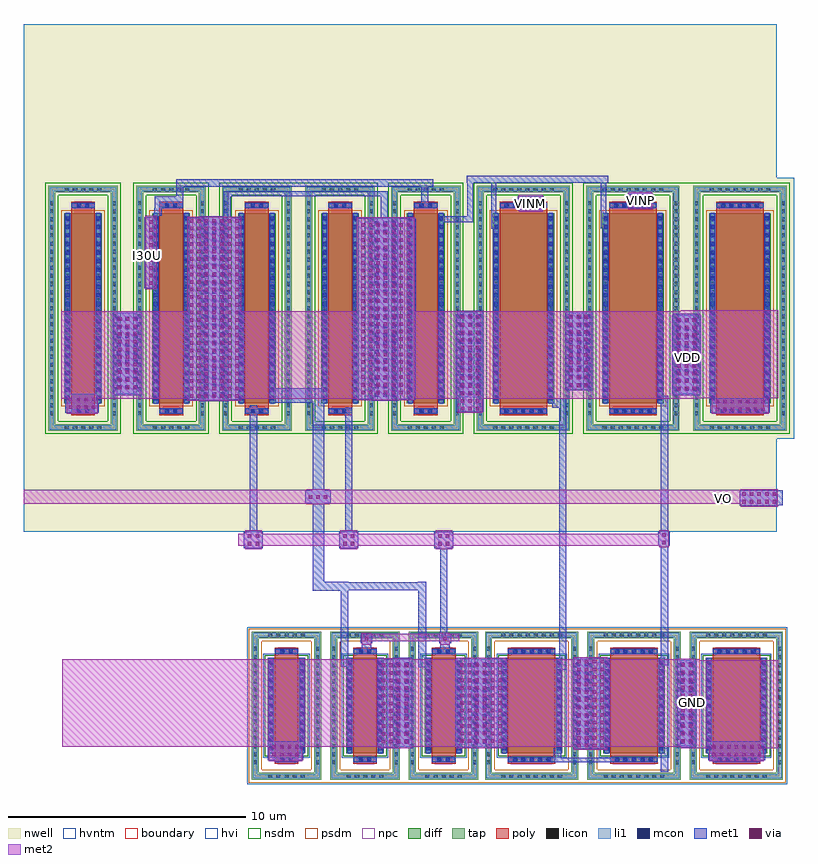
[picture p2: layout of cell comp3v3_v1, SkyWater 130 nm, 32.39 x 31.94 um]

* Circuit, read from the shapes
.subckt comp3v3_v1 GND I30U VDD VINM VINP VO
XM1 GND GND GND GND sky130_fd_pr__nfet_g5v0d10v5 w=4 l=1
XM2 GND n1 VO GND sky130_fd_pr__nfet_g5v0d10v5 w=4 l=1 m=2
XM3 n2 n2 GND GND sky130_fd_pr__nfet_g5v0d10v5 w=4 l=2
XM4 n1 n2 GND GND sky130_fd_pr__nfet_g5v0d10v5 w=4 l=2
XM5 GND GND GND GND sky130_fd_pr__nfet_g5v0d10v5 w=4 l=2
XM6 VDD VDD VDD VDD sky130_fd_pr__pfet_g5v0d10v5 w=8 l=1
XM7 VDD I30U I30U VDD sky130_fd_pr__pfet_g5v0d10v5 w=8 l=1
XM8 VO n1 VDD VDD sky130_fd_pr__pfet_g5v0d10v5 w=8 l=1 m=2
XM9 n3 I30U VDD VDD sky130_fd_pr__pfet_g5v0d10v5 w=8 l=1
XM10 n2 VINM n3 VDD sky130_fd_pr__pfet_g5v0d10v5 w=8 l=2
XM11 n1 VINP n3 VDD sky130_fd_pr__pfet_g5v0d10v5 w=8 l=2
XM12 VDD VDD VDD VDD sky130_fd_pr__pfet_g5v0d10v5 w=8 l=2
.ends

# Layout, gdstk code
import gdstk
lib = gdstk.Library(unit=1e-6, precision=1e-09)
def R(c, l, rs):  # rectangles x0, y0, x1, y1
    for r in rs: c.add(gdstk.rectangle(r[:2], r[2:], *l))
def A(c, l, x, y, w, h, nx, ny, dx, dy):  # array of equal rectangles
    R(c, l, [(x+i*dx, y+j*dy, x+i*dx+w, y+j*dy+h) for i in range(nx) for j in range(ny)])
nwell = (64, 20)
diff = (65, 20)
tap = (65, 44)
poly = (66, 20)
licon = (66, 44)
li1 = (67, 20)
mcon = (67, 44)
met1 = (68, 20)
via = (68, 44)
met2 = (69, 20)
hvi = (75, 20)
nsdm = (93, 44)
psdm = (94, 20)
npc = (95, 20)
hvntm = (125, 20)
boundary = (235, 4)

sky130_fd_pr__nfet_g5v0d = lib.new_cell('sky130_fd_pr__nfet_g5v0d10v5_WVAQGW')
R(sky130_fd_pr__nfet_g5v0d, diff, [(-0.79,-2,0.79,2)])
R(sky130_fd_pr__nfet_g5v0d, tap, [(-1.46,-3.11,1.46,-2.82), (-1.46,-2.82,-1.17,2.82), (1.17,-2.82,1.46,2.82), (-1.46,2.82,1.46,3.11)])
R(sky130_fd_pr__nfet_g5v0d, poly, [(-0.5,-2.44,0.5,2.44)])
A(sky130_fd_pr__nfet_g5v0d, licon, -0.765, -3.05, 0.17, 0.17, 5, 2, 0.34, 5.93)
A(sky130_fd_pr__nfet_g5v0d, licon, -1.4, -2.465, 0.17, 0.17, 1, 15, 0, 0.34)
A(sky130_fd_pr__nfet_g5v0d, licon, 1.23, -2.465, 0.17, 0.17, 1, 15, 0, 0.34)
A(sky130_fd_pr__nfet_g5v0d, licon, -0.73, -1.785, 0.17, 0.17, 1, 11, 0, 0.34)
A(sky130_fd_pr__nfet_g5v0d, licon, 0.56, -1.785, 0.17, 0.17, 1, 11, 0, 0.34)
R(sky130_fd_pr__nfet_g5v0d, licon, [(-0.255,-2.36,-0.085,-2.19), (0.085,-2.36,0.255,-2.19), (-0.255,2.19,-0.085,2.36), (0.085,2.19,0.255,2.36)])
R(sky130_fd_pr__nfet_g5v0d, li1, [(-1.4,-3.05,1.4,-2.88), (-1.4,-2.88,-1.23,2.88), (1.23,-2.88,1.4,2.88), (-0.5,-2.36,0.5,-2.19), (-0.73,-2.02,-0.56,2.02), (0.56,-2.02,0.73,2.02), (-0.5,2.19,0.5,2.36), (-1.4,2.88,1.4,3.05)])
A(sky130_fd_pr__nfet_g5v0d, mcon, -0.73, -1.885, 0.17, 0.17, 1, 11, 0, 0.36)
A(sky130_fd_pr__nfet_g5v0d, mcon, 0.56, -1.885, 0.17, 0.17, 1, 11, 0, 0.36)
R(sky130_fd_pr__nfet_g5v0d, mcon, [(-0.265,-2.36,-0.095,-2.19), (0.095,-2.36,0.265,-2.19), (-0.265,2.19,-0.095,2.36), (0.095,2.19,0.265,2.36)])
R(sky130_fd_pr__nfet_g5v0d, met1, [(-0.48,-2.39,0.48,-2.16), (-0.76,-2,-0.53,2), (0.53,-2,0.76,2), (-0.48,2.16,0.48,2.39)])
R(sky130_fd_pr__nfet_g5v0d, hvi, [(-1.645,-3.295,1.645,3.295)])
R(sky130_fd_pr__nfet_g5v0d, nsdm, [(-0.915,-2.125,0.915,2.125)])
R(sky130_fd_pr__nfet_g5v0d, psdm, [(-1.585,-3.235,1.585,-2.695), (-1.585,-2.695,-1.045,2.695), (1.045,-2.695,1.585,2.695), (-1.585,2.695,1.585,3.235)])
R(sky130_fd_pr__nfet_g5v0d, npc, [(-0.355,-2.46,0.355,-2.09), (-0.355,2.09,0.355,2.46)])
R(sky130_fd_pr__nfet_g5v0d, hvntm, [(-0.975,-2.185,0.975,2.185)])
R(sky130_fd_pr__nfet_g5v0d, boundary, [(-1.31,-2.96,1.31,2.96)])

c_sky130_fd_pr__nfet_g5v0d = lib.new_cell('sky130_fd_pr__nfet_g5v0d10v5_WVW7CW')
R(c_sky130_fd_pr__nfet_g5v0d, diff, [(-1.29,-2,1.29,2)])
R(c_sky130_fd_pr__nfet_g5v0d, tap, [(-1.96,-3.11,1.96,-2.82), (-1.96,-2.82,-1.67,2.82), (1.67,-2.82,1.96,2.82), (-1.96,2.82,1.96,3.11)])
R(c_sky130_fd_pr__nfet_g5v0d, poly, [(-1,-2.44,1,2.44)])
A(c_sky130_fd_pr__nfet_g5v0d, licon, -1.275, -3.05, 0.17, 0.17, 8, 2, 0.34, 5.93)
A(c_sky130_fd_pr__nfet_g5v0d, licon, -1.9, -2.465, 0.17, 0.17, 1, 15, 0, 0.34)
A(c_sky130_fd_pr__nfet_g5v0d, licon, 1.73, -2.465, 0.17, 0.17, 1, 15, 0, 0.34)
A(c_sky130_fd_pr__nfet_g5v0d, licon, -0.765, -2.36, 0.17, 0.17, 5, 2, 0.34, 4.55)
A(c_sky130_fd_pr__nfet_g5v0d, licon, -1.23, -1.785, 0.17, 0.17, 1, 11, 0, 0.34)
A(c_sky130_fd_pr__nfet_g5v0d, licon, 1.06, -1.785, 0.17, 0.17, 1, 11, 0, 0.34)
R(c_sky130_fd_pr__nfet_g5v0d, li1, [(-1.9,-3.05,1.9,-2.88), (-1.9,-2.88,-1.73,2.88), (1.73,-2.88,1.9,2.88), (-1,-2.36,1,-2.19), (-1.23,-2.02,-1.06,2.02), (1.06,-2.02,1.23,2.02), (-1,2.19,1,2.36), (-1.9,2.88,1.9,3.05)])
A(c_sky130_fd_pr__nfet_g5v0d, mcon, -0.805, -2.36, 0.17, 0.17, 5, 2, 0.36, 4.55)
A(c_sky130_fd_pr__nfet_g5v0d, mcon, -1.23, -1.885, 0.17, 0.17, 1, 11, 0, 0.36)
A(c_sky130_fd_pr__nfet_g5v0d, mcon, 1.06, -1.885, 0.17, 0.17, 1, 11, 0, 0.36)
R(c_sky130_fd_pr__nfet_g5v0d, met1, [(-0.98,-2.39,0.98,-2.16), (-1.26,-2,-1.03,2), (1.03,-2,1.26,2), (-0.98,2.16,0.98,2.39)])
R(c_sky130_fd_pr__nfet_g5v0d, hvi, [(-2.145,-3.295,2.145,3.295)])
R(c_sky130_fd_pr__nfet_g5v0d, nsdm, [(-1.415,-2.125,1.415,2.125)])
R(c_sky130_fd_pr__nfet_g5v0d, psdm, [(-2.085,-3.235,2.085,-2.695), (-2.085,-2.695,-1.545,2.695), (1.545,-2.695,2.085,2.695), (-2.085,2.695,2.085,3.235)])
R(c_sky130_fd_pr__nfet_g5v0d, npc, [(-0.865,-2.46,0.865,-2.09), (-0.865,2.09,0.865,2.46)])
R(c_sky130_fd_pr__nfet_g5v0d, hvntm, [(-1.475,-2.185,1.475,2.185)])
R(c_sky130_fd_pr__nfet_g5v0d, boundary, [(-1.81,-2.96,1.81,2.96)])

sky130_fd_pr__pfet_g5v0d = lib.new_cell('sky130_fd_pr__pfet_g5v0d10v5_FG5HVM')
R(sky130_fd_pr__pfet_g5v0d, nwell, [(-1.79,-5.485,1.79,5.485)])
R(sky130_fd_pr__pfet_g5v0d, diff, [(-0.79,-4,0.79,4)])
R(sky130_fd_pr__pfet_g5v0d, tap, [(-1.46,-5.155,1.46,-4.865), (-1.46,-4.865,-1.17,4.865), (1.17,-4.865,1.46,4.865), (-1.46,4.865,1.46,5.155)])
R(sky130_fd_pr__pfet_g5v0d, poly, [(-0.5,-4.485,0.5,4.485)])
A(sky130_fd_pr__pfet_g5v0d, licon, -0.765, -5.095, 0.17, 0.17, 5, 2, 0.34, 10.02)
A(sky130_fd_pr__pfet_g5v0d, licon, -1.4, -4.505, 0.17, 0.17, 1, 27, 0, 0.34)
A(sky130_fd_pr__pfet_g5v0d, licon, 1.23, -4.505, 0.17, 0.17, 1, 27, 0, 0.34)
A(sky130_fd_pr__pfet_g5v0d, licon, -0.73, -3.825, 0.17, 0.17, 1, 23, 0, 0.34)
A(sky130_fd_pr__pfet_g5v0d, licon, 0.56, -3.825, 0.17, 0.17, 1, 23, 0, 0.34)
R(sky130_fd_pr__pfet_g5v0d, licon, [(-0.255,-4.405,-0.085,-4.235), (0.085,-4.405,0.255,-4.235), (-0.255,4.235,-0.085,4.405), (0.085,4.235,0.255,4.405)])
R(sky130_fd_pr__pfet_g5v0d, li1, [(-1.4,-5.095,1.4,-4.925), (-1.4,-4.925,-1.23,4.925), (1.23,-4.925,1.4,4.925), (-0.5,-4.405,0.5,-4.235), (-0.73,-4.02,-0.56,4.02), (0.56,-4.02,0.73,4.02), (-0.5,4.235,0.5,4.405), (-1.4,4.925,1.4,5.095)])
A(sky130_fd_pr__pfet_g5v0d, mcon, -0.73, -3.865, 0.17, 0.17, 1, 22, 0, 0.36)
A(sky130_fd_pr__pfet_g5v0d, mcon, 0.56, -3.865, 0.17, 0.17, 1, 22, 0, 0.36)
R(sky130_fd_pr__pfet_g5v0d, mcon, [(-0.265,-4.405,-0.095,-4.235), (0.095,-4.405,0.265,-4.235), (-0.265,4.235,-0.095,4.405), (0.095,4.235,0.265,4.405)])
R(sky130_fd_pr__pfet_g5v0d, met1, [(-0.48,-4.435,0.48,-4.205), (-0.76,-4,-0.53,4), (0.53,-4,0.76,4), (-0.48,4.205,0.48,4.435)])
R(sky130_fd_pr__pfet_g5v0d, hvi, [(-1.79,-5.485,1.79,5.485)])
R(sky130_fd_pr__pfet_g5v0d, nsdm, [(-1.585,-5.28,1.585,-4.74), (-1.585,-4.74,-1.045,4.74), (1.045,-4.74,1.585,4.74), (-1.585,4.74,1.585,5.28)])
R(sky130_fd_pr__pfet_g5v0d, psdm, [(-0.915,-4.125,0.915,4.125)])
R(sky130_fd_pr__pfet_g5v0d, npc, [(-0.355,-4.505,0.355,-4.135), (-0.355,4.135,0.355,4.505)])
R(sky130_fd_pr__pfet_g5v0d, boundary, [(-1.315,-5.01,1.315,5.01)])

c_sky130_fd_pr__pfet_g5v0d = lib.new_cell('sky130_fd_pr__pfet_g5v0d10v5_473EVV')
R(c_sky130_fd_pr__pfet_g5v0d, nwell, [(-2.29,-5.485,2.29,5.485)])
R(c_sky130_fd_pr__pfet_g5v0d, diff, [(-1.29,-4,1.29,4)])
R(c_sky130_fd_pr__pfet_g5v0d, tap, [(-1.96,-5.155,1.96,-4.865), (-1.96,-4.865,-1.67,4.865), (1.67,-4.865,1.96,4.865), (-1.96,4.865,1.96,5.155)])
R(c_sky130_fd_pr__pfet_g5v0d, poly, [(-1,-4.485,1,4.485)])
A(c_sky130_fd_pr__pfet_g5v0d, licon, -1.275, -5.095, 0.17, 0.17, 8, 2, 0.34, 10.02)
A(c_sky130_fd_pr__pfet_g5v0d, licon, -1.9, -4.505, 0.17, 0.17, 1, 27, 0, 0.34)
A(c_sky130_fd_pr__pfet_g5v0d, licon, 1.73, -4.505, 0.17, 0.17, 1, 27, 0, 0.34)
A(c_sky130_fd_pr__pfet_g5v0d, licon, -0.765, -4.405, 0.17, 0.17, 5, 2, 0.34, 8.64)
A(c_sky130_fd_pr__pfet_g5v0d, licon, -1.23, -3.825, 0.17, 0.17, 1, 23, 0, 0.34)
A(c_sky130_fd_pr__pfet_g5v0d, licon, 1.06, -3.825, 0.17, 0.17, 1, 23, 0, 0.34)
R(c_sky130_fd_pr__pfet_g5v0d, li1, [(-1.9,-5.095,1.9,-4.925), (-1.9,-4.925,-1.73,4.925), (1.73,-4.925,1.9,4.925), (-1,-4.405,1,-4.235), (-1.23,-4.02,-1.06,4.02), (1.06,-4.02,1.23,4.02), (-1,4.235,1,4.405), (-1.9,4.925,1.9,5.095)])
A(c_sky130_fd_pr__pfet_g5v0d, mcon, -0.805, -4.405, 0.17, 0.17, 5, 2, 0.36, 8.64)
A(c_sky130_fd_pr__pfet_g5v0d, mcon, -1.23, -3.865, 0.17, 0.17, 1, 22, 0, 0.36)
A(c_sky130_fd_pr__pfet_g5v0d, mcon, 1.06, -3.865, 0.17, 0.17, 1, 22, 0, 0.36)
R(c_sky130_fd_pr__pfet_g5v0d, met1, [(-0.98,-4.435,0.98,-4.205), (-1.26,-4,-1.03,4), (1.03,-4,1.26,4), (-0.98,4.205,0.98,4.435)])
R(c_sky130_fd_pr__pfet_g5v0d, hvi, [(-2.29,-5.485,2.29,5.485)])
R(c_sky130_fd_pr__pfet_g5v0d, nsdm, [(-2.085,-5.28,2.085,-4.74), (-2.085,-4.74,-1.545,4.74), (1.545,-4.74,2.085,4.74), (-2.085,4.74,2.085,5.28)])
R(c_sky130_fd_pr__pfet_g5v0d, psdm, [(-1.415,-4.125,1.415,4.125)])
R(c_sky130_fd_pr__pfet_g5v0d, npc, [(-0.865,-4.505,0.865,-4.135), (-0.865,4.135,0.865,4.505)])
R(c_sky130_fd_pr__pfet_g5v0d, boundary, [(-1.815,-5.01,1.815,5.01)])

comp3v3_v1 = lib.new_cell('comp3v3_v1')
R(comp3v3_v1, nwell, [(0.09,-16.2,31.74,5.13)])
R(comp3v3_v1, li1, [(15.63,-25.24,16.39,-21.56), (18.91,-25.24,19.66,-21.56), (23.19,-25.24,23.96,-21.54), (27.6,-25.2,28.3,-21.6), (7.53,-10.67,8.68,-3), (14.74,-10.65,15.83,-3.04), (18.34,-10.55,19.37,-6.98), (3.9,-10.4,5,-7), (27.4,-10.4,28.5,-7.1), (22.93,-10.21,23.96,-7)])
A(comp3v3_v1, mcon, 15.745, -25.105, 0.17, 0.17, 1, 10, 0, 0.36)
A(comp3v3_v1, mcon, 16.105, -25.105, 0.17, 0.17, 1, 10, 0, 0.36)
A(comp3v3_v1, mcon, 19.02, -25.105, 0.17, 0.17, 1, 10, 0, 0.36)
A(comp3v3_v1, mcon, 19.38, -25.105, 0.17, 0.17, 1, 10, 0, 0.36)
A(comp3v3_v1, mcon, 27.685, -25.105, 0.17, 0.17, 1, 10, 0, 0.36)
A(comp3v3_v1, mcon, 28.045, -25.105, 0.17, 0.17, 1, 10, 0, 0.36)
A(comp3v3_v1, mcon, 23.31, -25.095, 0.17, 0.17, 1, 10, 0, 0.36)
A(comp3v3_v1, mcon, 23.67, -25.095, 0.17, 0.17, 1, 10, 0, 0.36)
A(comp3v3_v1, mcon, 14.84, -10.53, 0.17, 0.17, 3, 21, 0.36, 0.36)
A(comp3v3_v1, mcon, 7.66, -10.52, 0.17, 0.17, 3, 21, 0.36, 0.36)
A(comp3v3_v1, mcon, 18.41, -10.47, 0.17, 0.17, 3, 10, 0.36, 0.36)
A(comp3v3_v1, mcon, 27.505, -10.275, 0.17, 0.17, 3, 9, 0.36, 0.36)
A(comp3v3_v1, mcon, 4.005, -10.225, 0.17, 0.17, 3, 9, 0.36, 0.36)
A(comp3v3_v1, mcon, 23, -10.13, 0.17, 0.17, 3, 9, 0.36, 0.36)
A(comp3v3_v1, met1, 9.35, -16.9, 0.8, 0.7, 3, 1, 4, 0)
R(comp3v3_v1, met1, [(26.87,-26.29,27.18,-25.28), (20.53,-25.9,26.65,-25.7), (10.35,-25.8,11.85,-25), (28.85,-25.8,31.25,-25), (22.36,-25.7,22.68,-25.31), (23.16,-25.32,24.66,-21.53), (15.6,-25.3,16.42,-25.26), (18.88,-25.3,19.69,-25.26), (14.96,-25.26,16.42,-21.57), (18.23,-25.26,20.38,-21.55), (27.57,-25.26,28.33,-25.2), (27.55,-25.2,28.35,-21.6), (22.6,-22,22.9,-11), (16.68,-21.89,17,-18.67), (13.41,-21.88,13.73,-18.68), (26.87,-21.82,27.17,-16.8), (27.57,-21.6,28.33,-21.54), (15.6,-21.57,16.42,-21.5), (18.88,-21.55,19.69,-21.5), (23.16,-21.53,23.99,-21.48), (14.3,-21.3,14.7,-20.9), (17.6,-21.3,18,-20.9), (14.25,-20.9,14.75,-20.5), (17.55,-20.9,18.05,-20.5), (17.6,-20.5,17.9,-16.9), (12.25,-18.68,13.74,-18.67), (12.25,-18.67,17,-18.32), (12.25,-18.32,13.74,-18.31), (16.68,-18.32,17,-18.31), (12.25,-18.31,12.72,-15.01), (13.41,-18.31,13.73,-18.3), (26.75,-16.8,27.25,-16.2), (9.6,-16.2,9.9,-10.9), (13.6,-16.2,13.9,-11), (26.87,-16.2,27.17,-10.5), (30.18,-15.11,31.82,-15.1), (30.18,-15.1,32,-14.46), (11.93,-15.01,12.99,-14.47), (12.25,-14.47,12.72,-10.78), (1.85,-11.2,3.25,-10.4), (28.95,-11.2,31.45,-10.6), (18.28,-11.16,19.41,-7.06), (22.3,-11,22.9,-10.6), (5.59,-10.82,5.75,-10.62), (10.53,-10.78,12.81,-10.18), (7.5,-10.73,8.71,-10.65), (14.71,-10.71,15.86,-10.63), (6.91,-10.65,9.29,-3.01), (14.04,-10.63,16.57,-3.03), (3.87,-10.46,5.03,-10.4), (27.37,-10.46,28.53,-10.4), (3.85,-10.4,5.05,-7), (27.35,-10.4,28.55,-7.1), (22.9,-10.27,23.99,-10.22), (22.86,-10.22,23.99,-7), (27.37,-7.1,28.53,-7.04), (18.31,-7.06,19.4,-6.92), (3.87,-7,5.03,-6.94), (22.9,-7,23.99,-6.94), (5.15,-5.97,5.74,-2.98), (19.96,-5.7,20.01,-5.6), (24.63,-5.65,24.68,-5.6), (20,-5.6,20.05,-4.1), (24.6,-5.6,24.68,-4.1), (19.96,-4.1,20.01,-4.09), (24.63,-4.1,24.68,-4.04), (19.74,-3.47,19.96,-1.54), (24.35,-3.45,24.57,-1.54), (17.64,-3.2,18.98,-2.94), (14.71,-3.03,15.86,-2.98), (7.5,-3.01,8.8,-2.94), (15.1,-2.98,15.4,-2.1), (8.5,-2.94,8.8,-2.1), (18.73,-2.94,18.98,-1.54), (5.58,-2.92,5.9,-2.61), (20.85,-2.7,21.95,-2.1), (5.6,-2.61,5.9,-2.6), (5.6,-2.6,6.8,-2.1), (25.45,-2.6,26.55,-2), (16.8,-2.5,17.1,-1.7), (6.5,-2.1,6.8,-1.7), (8.5,-2.1,15.4,-1.9), (6.5,-1.7,17.3,-1.4), (18.71,-1.54,24.66,-1.25)])
A(comp3v3_v1, via, 10.545, -25.635, 0.15, 0.15, 4, 2, 0.32, 0.32)
A(comp3v3_v1, via, 29.015, -25.635, 0.15, 0.15, 7, 2, 0.32, 0.32)
A(comp3v3_v1, via, 23.355, -25.26, 0.15, 0.15, 4, 12, 0.32, 0.32)
A(comp3v3_v1, via, 15.135, -25.09, 0.15, 0.15, 4, 11, 0.32, 0.32)
A(comp3v3_v1, via, 18.43, -25.08, 0.15, 0.15, 6, 11, 0.32, 0.32)
A(comp3v3_v1, via, 27.715, -25.075, 0.15, 0.15, 1, 11, 0, 0.32)
A(comp3v3_v1, via, 28.035, -25.075, 0.15, 0.15, 1, 11, 0, 0.32)
A(comp3v3_v1, via, 30.285, -15.02, 0.15, 0.15, 5, 2, 0.32, 0.32)
A(comp3v3_v1, via, 12.065, -14.815, 0.15, 0.15, 3, 1, 0.32, 0)
A(comp3v3_v1, via, 29.165, -11.135, 0.15, 0.15, 7, 2, 0.32, 0.32)
A(comp3v3_v1, via, 18.45, -11.105, 0.15, 0.15, 3, 13, 0.32, 0.32)
A(comp3v3_v1, via, 1.995, -11.035, 0.15, 0.15, 4, 2, 0.32, 0.32)
A(comp3v3_v1, via, 7.065, -10.585, 0.15, 0.15, 7, 24, 0.32, 0.32)
A(comp3v3_v1, via, 14.27, -10.425, 0.15, 0.15, 7, 23, 0.32, 0.32)
A(comp3v3_v1, via, 27.555, -10.265, 0.15, 0.15, 3, 10, 0.32, 0.32)
A(comp3v3_v1, via, 4.055, -10.215, 0.15, 0.15, 3, 10, 0.32, 0.32)
A(comp3v3_v1, via, 23.015, -10.125, 0.15, 0.15, 3, 10, 0.32, 0.32)
A(comp3v3_v1, via, 5.37, -5.83, 0.15, 0.15, 1, 9, 0, 0.32)
A(comp3v3_v1, via, 21.005, -2.635, 0.15, 0.15, 3, 2, 0.32, 0.32)
A(comp3v3_v1, via, 25.605, -2.535, 0.15, 0.15, 3, 2, 0.32, 0.32)
R(comp3v3_v1, via, [(14.425,-20.775,14.575,-20.625), (17.725,-20.775,17.875,-20.625), (9.515,-16.785,9.665,-16.635), (9.835,-16.785,9.985,-16.635), (13.515,-16.785,13.665,-16.635), (13.835,-16.785,13.985,-16.635), (17.515,-16.785,17.665,-16.635), (17.835,-16.785,17.985,-16.635), (26.925,-16.735,27.075,-16.585), (9.515,-16.465,9.665,-16.315), (9.835,-16.465,9.985,-16.315), (13.515,-16.465,13.665,-16.315), (13.835,-16.465,13.985,-16.315), (17.515,-16.465,17.665,-16.315), (17.835,-16.465,17.985,-16.315), (26.925,-16.415,27.075,-16.265)])
A(comp3v3_v1, met2, 9.4, -16.95, 0.7, 0.15, 3, 2, 4, 0.65)
R(comp3v3_v1, met2, [(10.4,-25.85,11.8,-25.25), (28.9,-25.85,31.2,-25.3), (23.21,-25.37,24.61,-25.25), (15.01,-25.31,16.37,-25.25), (18.28,-25.31,20.33,-25.25), (27.7,-25.3,31.8,-25.25), (1.72,-25.25,31.8,-21.6), (1.72,-21.6,28.5,-21.57), (15.01,-21.57,16.37,-21.52), (18.28,-21.57,20.33,-21.5), (23.21,-21.57,24.61,-21.48), (27.6,-21.57,28.3,-21.55), (14.3,-20.95,14.7,-20.8), (17.6,-20.95,18,-20.8), (14.3,-20.8,18.4,-20.5), (14.3,-20.5,14.7,-20.45), (17.6,-20.5,18,-20.45), (26.8,-16.85,27.2,-16.8), (9.1,-16.8,27.2,-16.3), (26.8,-16.3,27.2,-16.15), (30.23,-15.16,31.77,-15.03), (11.98,-15.06,12.94,-15.03), (0.1,-15.03,31.77,-14.44), (11.98,-14.44,12.94,-14.42), (30.23,-14.44,31.77,-14.41), (1.9,-11.25,3.2,-10.61), (29,-11.25,31.4,-10.6), (18.33,-11.21,19.36,-10.61), (6.96,-10.7,9.24,-10.61), (14.09,-10.68,16.52,-10.61), (1.67,-10.61,28.45,-10.6), (1.67,-10.6,31.8,-6.93), (6.96,-6.93,9.24,-2.96), (14.09,-6.93,16.52,-2.98), (27.7,-6.93,31.8,-6.9), (5.2,-6.02,5.69,-2.93), (20.9,-2.75,21.9,-2.05), (25.5,-2.65,26.5,-1.95)])
R(comp3v3_v1, hvi, [(12.785,-26.805,12.795,-20.215), (16.085,-26.805,16.095,-20.215), (23.585,-26.805,23.595,-20.215), (27.885,-26.805,27.895,-20.215), (0.09,-16.2,31.74,-12.3), (0.09,-12.3,0.8,-1.33), (4.38,-12.3,4.5,-1.33), (8.08,-12.3,8.1,-1.33), (15.18,-12.3,15.2,-1.33), (18.78,-12.3,18.8,-1.33), (23.38,-12.3,23.4,-1.33), (0.09,-1.33,31.74,5.13)])
R(comp3v3_v1, nsdm, [(11.475,-12.095,11.805,-1.535), (27.775,-12.095,28.105,-1.535)])
R(comp3v3_v1, psdm, [(12.725,-26.745,12.855,-20.275), (16.025,-26.745,16.155,-20.275), (19.325,-26.745,19.355,-20.275), (23.525,-26.745,23.655,-20.275), (27.825,-26.745,27.955,-20.275)])
comp3v3_v1.add(gdstk.Reference(sky130_fd_pr__nfet_g5v0d, (11.14,-23.51)))
comp3v3_v1.add(gdstk.Reference(sky130_fd_pr__nfet_g5v0d, (14.44,-23.51)))
comp3v3_v1.add(gdstk.Reference(sky130_fd_pr__nfet_g5v0d, (17.74,-23.51)))
comp3v3_v1.add(gdstk.Reference(c_sky130_fd_pr__nfet_g5v0d, (21.44,-23.51)))
comp3v3_v1.add(gdstk.Reference(c_sky130_fd_pr__nfet_g5v0d, (25.74,-23.51)))
comp3v3_v1.add(gdstk.Reference(c_sky130_fd_pr__nfet_g5v0d, (30.04,-23.51)))
comp3v3_v1.add(gdstk.Reference(sky130_fd_pr__pfet_g5v0d, (2.59,-6.815)))
comp3v3_v1.add(gdstk.Reference(sky130_fd_pr__pfet_g5v0d, (6.29,-6.815)))
comp3v3_v1.add(gdstk.Reference(sky130_fd_pr__pfet_g5v0d, (9.89,-6.815)))
comp3v3_v1.add(gdstk.Reference(sky130_fd_pr__pfet_g5v0d, (16.99,-6.815)))
comp3v3_v1.add(gdstk.Reference(sky130_fd_pr__pfet_g5v0d, (13.39,-6.815)))
comp3v3_v1.add(gdstk.Reference(c_sky130_fd_pr__pfet_g5v0d, (21.09,-6.815)))
comp3v3_v1.add(gdstk.Reference(c_sky130_fd_pr__pfet_g5v0d, (25.69,-6.815)))
comp3v3_v1.add(gdstk.Reference(c_sky130_fd_pr__pfet_g5v0d, (30.19,-6.815)))
comp3v3_v1.add(gdstk.Label('VDD', (28,-8.9), layer=69, texttype=5))
comp3v3_v1.add(gdstk.Label('VO', (29.5,-14.8), layer=69, texttype=5))
comp3v3_v1.add(gdstk.Label('I30U', (5.3,-4.6), layer=69, texttype=5))
comp3v3_v1.add(gdstk.Label('VINM', (21.4,-2.4), layer=69, texttype=5))
comp3v3_v1.add(gdstk.Label('GND', (28.2,-23.4), layer=69, texttype=5))
comp3v3_v1.add(gdstk.Label('VINP', (26,-2.3), layer=69, texttype=5))

lib.write_gds('comp3v3_v1.gds')
